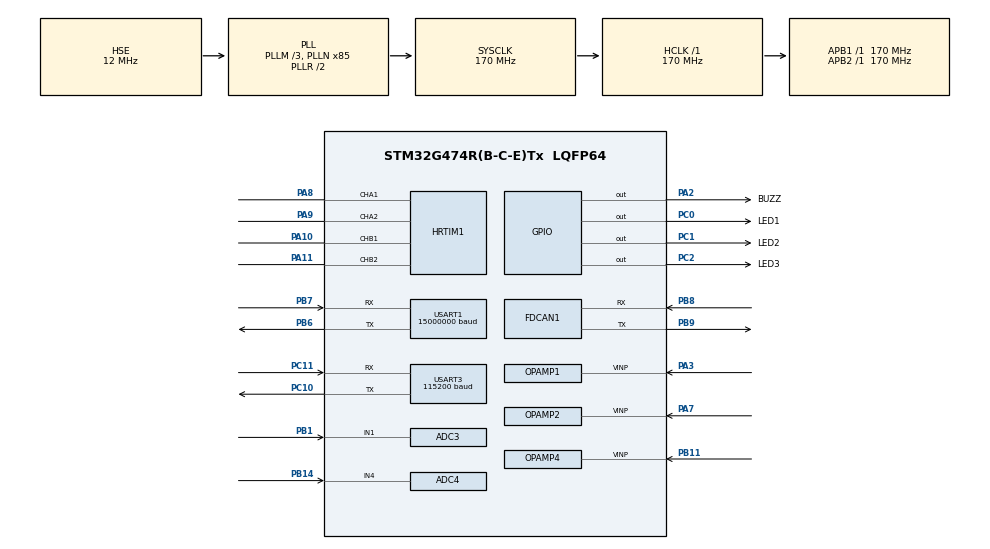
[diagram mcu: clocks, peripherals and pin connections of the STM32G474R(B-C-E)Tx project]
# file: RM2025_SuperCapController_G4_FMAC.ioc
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ADC1.Channel-5\#ChannelRegularConversion=ADC_CHANNEL_VOPAMP1
ADC1.ContinuousConvMode=DISABLE
ADC1.DMAContinuousRequests=ENABLE
ADC1.ExternalTrigConv=ADC_EXTERNALTRIG_HRTIM_TRG3
ADC1.LowPowerAutoWait=DISABLE
ADC1.NbrOfConversion=1
ADC1.NbrOfConversionFlag=1
ADC1.OversamplingMode=ENABLE
ADC1.OversamplingStopReset=ADC_REGOVERSAMPLING_CONTINUED_MODE
ADC1.Ratio=ADC_OVERSAMPLING_RATIO_16
ADC1.RightBitShift=ADC_RIGHTBITSHIFT_NONE
ADC1.master=1
ADC2.Channel-1\#ChannelRegularConversion=ADC_CHANNEL_VOPAMP2
ADC2.ContinuousConvMode=DISABLE
ADC2.DMAContinuousRequests=ENABLE
ADC2.ExternalTrigConv=ADC_EXTERNALTRIG_HRTIM_TRG3
ADC2.NbrOfConversionFlag=1
ADC2.OffsetNumber-1\#ChannelRegularConversion=ADC_OFFSET_NONE
ADC2.OversamplingMode=ENABLE
ADC2.Rank-1\#ChannelRegularConversion=1
ADC2.Ratio=ADC_OVERSAMPLING_RATIO_16
ADC2.RightBitShift=ADC_RIGHTBITSHIFT_NONE
ADC2.SamplingTime-1\#ChannelRegularConversion=ADC_SAMPLETIME_2CYCLES_5
ADC3.Channel-2\#ChannelRegularConversion=ADC_CHANNEL_1
ADC3.ContinuousConvMode=DISABLE
ADC3.DMAContinuousRequests=ENABLE
ADC3.ExternalTrigConv=ADC_EXTERNALTRIG_HRTIM_TRG2
ADC3.NbrOfConversion=1
ADC3.NbrOfConversionFlag=1
ADC3.OffsetNumber-2\#ChannelRegularConversion=ADC_OFFSET_NONE
ADC3.OversamplingMode=ENABLE
ADC3.Rank-2\#ChannelRegularConversion=1
ADC3.Ratio=ADC_OVERSAMPLING_RATIO_256
ADC3.RightBitShift=ADC_RIGHTBITSHIFT_4
ADC3.SamplingTime-2\#ChannelRegularConversion=ADC_SAMPLETIME_2CYCLES_5
ADC3.master=1
ADC4.Channel-10\#ChannelRegularConversion=ADC_CHANNEL_4
ADC4.Channel-11\#ChannelRegularConversion=ADC_CHANNEL_4
ADC4.ContinuousConvMode=DISABLE
ADC4.DMAContinuousRequests=ENABLE
ADC4.ExternalTrigConv=ADC_EXTERNALTRIG_HRTIM_TRG2
ADC4.NbrOfConversion=2
ADC4.NbrOfConversionFlag=1
ADC4.OffsetNumber-10\#ChannelRegularConversion=ADC_OFFSET_NONE
ADC4.OffsetNumber-11\#ChannelRegularConversion=ADC_OFFSET_NONE
ADC4.OversamplingMode=ENABLE
ADC4.Rank-10\#ChannelRegularConversion=1
ADC4.Rank-11\#ChannelRegularConversion=2
ADC4.Ratio=ADC_OVERSAMPLING_RATIO_256
ADC4.RightBitShift=ADC_RIGHTBITSHIFT_4
ADC4.SamplingTime-10\#ChannelRegularConversion=ADC_SAMPLETIME_2CYCLES_5
ADC4.SamplingTime-11\#ChannelRegularConversion=ADC_SAMPLETIME_2CYCLES_5
ADC5.Channel-0\#ChannelRegularConversion=ADC_CHANNEL_VOPAMP4
ADC5.ClockPrescaler=ADC_CLOCK_SYNC_PCLK_DIV4
ADC5.ContinuousConvMode=DISABLE
ADC5.DMAContinuousRequests=ENABLE
ADC5.ExternalTrigConv=ADC_EXTERNALTRIG_HRTIM_TRG1
ADC5.NbrOfConversion=1
ADC5.NbrOfConversionFlag=1
ADC5.OffsetNumber-0\#ChannelRegularConversion=ADC_OFFSET_NONE
ADC5.OversamplingMode=ENABLE
ADC5.Rank-0\#ChannelRegularConversion=1
ADC5.Ratio=ADC_OVERSAMPLING_RATIO_16
ADC5.Resolution=ADC_RESOLUTION_12B
ADC5.RightBitShift=ADC_RIGHTBITSHIFT_NONE
ADC5.SamplingTime-0\#ChannelRegularConversion=ADC_SAMPLETIME_2CYCLES_5
Dma.ADC1.0.Direction=DMA_PERIPH_TO_MEMORY
Dma.ADC1.0.EventEnable=DISABLE
Dma.ADC1.0.Instance=DMA1_Channel1
Dma.ADC1.0.MemDataAlignment=DMA_MDATAALIGN_HALFWORD
Dma.ADC1.0.MemInc=DMA_MINC_ENABLE
Dma.ADC1.0.Mode=DMA_CIRCULAR
Dma.ADC1.0.PeriphDataAlignment=DMA_PDATAALIGN_HALFWORD
Dma.ADC1.0.PeriphInc=DMA_PINC_DISABLE
Dma.ADC1.0.Polarity=HAL_DMAMUX_REQ_GEN_RISING
Dma.ADC1.0.Priority=DMA_PRIORITY_HIGH
Dma.ADC1.0.RequestNumber=1
Dma.ADC1.0.SignalID=NONE
Dma.ADC1.0.SyncEnable=DISABLE
Dma.ADC1.0.SyncPolarity=HAL_DMAMUX_SYNC_NO_EVENT
Dma.ADC1.0.SyncRequestNumber=1
Dma.ADC1.0.SyncSignalID=NONE
Dma.ADC2.3.Direction=DMA_PERIPH_TO_MEMORY
Dma.ADC2.3.EventEnable=DISABLE
Dma.ADC2.3.Instance=DMA1_Channel5
Dma.ADC2.3.MemDataAlignment=DMA_MDATAALIGN_HALFWORD
Dma.ADC2.3.MemInc=DMA_MINC_ENABLE
Dma.ADC2.3.Mode=DMA_CIRCULAR
Dma.ADC2.3.PeriphDataAlignment=DMA_PDATAALIGN_HALFWORD
Dma.ADC2.3.PeriphInc=DMA_PINC_DISABLE
Dma.ADC2.3.Polarity=HAL_DMAMUX_REQ_GEN_RISING
Dma.ADC2.3.Priority=DMA_PRIORITY_HIGH
Dma.ADC2.3.RequestNumber=1
Dma.ADC2.3.SignalID=NONE
Dma.ADC2.3.SyncEnable=DISABLE
Dma.ADC2.3.SyncPolarity=HAL_DMAMUX_SYNC_NO_EVENT
Dma.ADC2.3.SyncRequestNumber=1
Dma.ADC2.3.SyncSignalID=NONE
Dma.ADC3.6.Direction=DMA_PERIPH_TO_MEMORY
Dma.ADC3.6.EventEnable=DISABLE
Dma.ADC3.6.Instance=DMA1_Channel2
Dma.ADC3.6.MemDataAlignment=DMA_MDATAALIGN_HALFWORD
Dma.ADC3.6.MemInc=DMA_MINC_ENABLE
Dma.ADC3.6.Mode=DMA_CIRCULAR
Dma.ADC3.6.PeriphDataAlignment=DMA_PDATAALIGN_HALFWORD
Dma.ADC3.6.PeriphInc=DMA_PINC_DISABLE
Dma.ADC3.6.Polarity=HAL_DMAMUX_REQ_GEN_RISING
Dma.ADC3.6.Priority=DMA_PRIORITY_HIGH
Dma.ADC3.6.RequestNumber=1
Dma.ADC3.6.SignalID=NONE
Dma.ADC3.6.SyncEnable=DISABLE
Dma.ADC3.6.SyncPolarity=HAL_DMAMUX_SYNC_NO_EVENT
Dma.ADC3.6.SyncRequestNumber=1
Dma.ADC3.6.SyncSignalID=NONE
Dma.ADC4.5.Direction=DMA_PERIPH_TO_MEMORY
Dma.ADC4.5.EventEnable=DISABLE
Dma.ADC4.5.Instance=DMA1_Channel7
Dma.ADC4.5.MemDataAlignment=DMA_MDATAALIGN_HALFWORD
Dma.ADC4.5.MemInc=DMA_MINC_ENABLE
Dma.ADC4.5.Mode=DMA_CIRCULAR
Dma.ADC4.5.PeriphDataAlignment=DMA_PDATAALIGN_HALFWORD
Dma.ADC4.5.PeriphInc=DMA_PINC_DISABLE
Dma.ADC4.5.Polarity=HAL_DMAMUX_REQ_GEN_RISING
Dma.ADC4.5.Priority=DMA_PRIORITY_VERY_HIGH
Dma.ADC4.5.RequestNumber=1
Dma.ADC4.5.SignalID=NONE
Dma.ADC4.5.SyncEnable=DISABLE
Dma.ADC4.5.SyncPolarity=HAL_DMAMUX_SYNC_NO_EVENT
Dma.ADC4.5.SyncRequestNumber=1
Dma.ADC4.5.SyncSignalID=NONE
Dma.ADC5.4.Direction=DMA_PERIPH_TO_MEMORY
Dma.ADC5.4.EventEnable=DISABLE
Dma.ADC5.4.Instance=DMA1_Channel8
Dma.ADC5.4.MemDataAlignment=DMA_MDATAALIGN_HALFWORD
Dma.ADC5.4.MemInc=DMA_MINC_ENABLE
Dma.ADC5.4.Mode=DMA_CIRCULAR
Dma.ADC5.4.PeriphDataAlignment=DMA_PDATAALIGN_HALFWORD
Dma.ADC5.4.PeriphInc=DMA_PINC_DISABLE
Dma.ADC5.4.Polarity=HAL_DMAMUX_REQ_GEN_RISING
Dma.ADC5.4.Priority=DMA_PRIORITY_HIGH
Dma.ADC5.4.RequestNumber=1
Dma.ADC5.4.SignalID=NONE
Dma.ADC5.4.SyncEnable=DISABLE
Dma.ADC5.4.SyncPolarity=HAL_DMAMUX_SYNC_NO_EVENT
Dma.ADC5.4.SyncRequestNumber=1
Dma.ADC5.4.SyncSignalID=NONE
Dma.FMAC_READ.7.Direction=DMA_PERIPH_TO_MEMORY
Dma.FMAC_READ.7.EventEnable=DISABLE
Dma.FMAC_READ.7.Instance=DMA1_Channel3
Dma.FMAC_READ.7.MemDataAlignment=DMA_MDATAALIGN_HALFWORD
Dma.FMAC_READ.7.MemInc=DMA_MINC_ENABLE
Dma.FMAC_READ.7.Mode=DMA_CIRCULAR
Dma.FMAC_READ.7.PeriphDataAlignment=DMA_PDATAALIGN_WORD
Dma.FMAC_READ.7.PeriphInc=DMA_PINC_DISABLE
Dma.FMAC_READ.7.Polarity=HAL_DMAMUX_REQ_GEN_RISING
Dma.FMAC_READ.7.Priority=DMA_PRIORITY_MEDIUM
Dma.FMAC_READ.7.RequestNumber=1
Dma.FMAC_READ.7.SignalID=NONE
Dma.FMAC_READ.7.SyncEnable=DISABLE
Dma.FMAC_READ.7.SyncPolarity=HAL_DMAMUX_SYNC_NO_EVENT
Dma.FMAC_READ.7.SyncRequestNumber=1
Dma.FMAC_READ.7.SyncSignalID=NONE
Dma.Request0=ADC1
Dma.Request1=USART1_TX
Dma.Request2=USART3_TX
Dma.Request3=ADC2
Dma.Request4=ADC5
Dma.Request5=ADC4
Dma.Request6=ADC3
Dma.Request7=FMAC_READ
Dma.USART1_TX.1.Direction=DMA_MEMORY_TO_PERIPH
Dma.USART1_TX.1.EventEnable=DISABLE
Dma.USART1_TX.1.Instance=DMA2_Channel1
Dma.USART1_TX.1.MemDataAlignment=DMA_MDATAALIGN_BYTE
Dma.USART1_TX.1.MemInc=DMA_MINC_ENABLE
Dma.USART1_TX.1.Mode=DMA_NORMAL
Dma.USART1_TX.1.PeriphDataAlignment=DMA_PDATAALIGN_BYTE
Dma.USART1_TX.1.PeriphInc=DMA_PINC_DISABLE
Dma.USART1_TX.1.Polarity=HAL_DMAMUX_REQ_GEN_RISING
Dma.USART1_TX.1.Priority=DMA_PRIORITY_MEDIUM
Dma.USART1_TX.1.RequestNumber=1
Dma.USART1_TX.1.SignalID=NONE
Dma.USART1_TX.1.SyncEnable=DISABLE
Dma.USART1_TX.1.SyncPolarity=HAL_DMAMUX_SYNC_NO_EVENT
Dma.USART1_TX.1.SyncRequestNumber=1
Dma.USART1_TX.1.SyncSignalID=NONE
Dma.USART3_TX.2.Direction=DMA_MEMORY_TO_PERIPH
Dma.USART3_TX.2.EventEnable=DISABLE
Dma.USART3_TX.2.Instance=DMA2_Channel2
Dma.USART3_TX.2.MemDataAlignment=DMA_MDATAALIGN_BYTE
Dma.USART3_TX.2.MemInc=DMA_MINC_ENABLE
Dma.USART3_TX.2.Mode=DMA_NORMAL
Dma.USART3_TX.2.PeriphDataAlignment=DMA_PDATAALIGN_BYTE
Dma.USART3_TX.2.PeriphInc=DMA_PINC_DISABLE
Dma.USART3_TX.2.Polarity=HAL_DMAMUX_REQ_GEN_RISING
Dma.USART3_TX.2.Priority=DMA_PRIORITY_LOW
Dma.USART3_TX.2.RequestNumber=1
Dma.USART3_TX.2.SignalID=NONE
Dma.USART3_TX.2.SyncEnable=DISABLE
Dma.USART3_TX.2.SyncPolarity=HAL_DMAMUX_SYNC_NO_EVENT
Dma.USART3_TX.2.SyncRequestNumber=1
Dma.USART3_TX.2.SyncSignalID=NONE
FDCAN1.AutoRetransmission=DISABLE
FDCAN1.CalculateBaudRateNominal=999999
FDCAN1.CalculateTimeBitNominal=1000
FDCAN1.CalculateTimeQuantumNominal=11.764705882352942
FDCAN1.DataPrescaler=8
FDCAN1.DataSyncJumpWidth=4
FDCAN1.DataTimeSeg1=25
FDCAN1.DataTimeSeg2=8
FDCAN1.ExtFiltersNbr=0
FDCAN1.Mode=FDCAN_MODE_NORMAL
FDCAN1.NominalPrescaler=2
FDCAN1.NominalSyncJumpWidth=10
FDCAN1.NominalTimeSeg1=63
FDCAN1.NominalTimeSeg2=21
FDCAN1.StdFiltersNbr=1
HRTIM1.ADCTrigger1_Source1=HRTIM_ADCTRIGGEREVENT13_MASTER_CMP4
HRTIM1.ADCTrigger2_Source1=HRTIM_ADCTRIGGEREVENT24_MASTER_CMP4
HRTIM1.ADCTrigger3_Source1=HRTIM_ADCTRIGGEREVENT13_MASTER_CMP4
HRTIM1.ADCTrigger_Id1=HRTIM_ADCTRIGGER_1
HRTIM1.ADCTrigger_Id2=HRTIM_ADCTRIGGER_2
HRTIM1.ADCTrigger_Id3=HRTIM_ADCTRIGGER_3
HRTIM1.CaptureUnit1-Output_TA1TA2=__NULL
HRTIM1.CaptureUnit2-Output_TA1TA2=__NULL
HRTIM1.CompareUnit1-MasterTimer=HRTIM_COMPAREUNIT_1
HRTIM1.CompareUnit1-Output_TA1TA2=__NULL
HRTIM1.CompareUnit1-Output_TB1TB2=__NULL
HRTIM1.CompareUnit2-MasterTimer=HRTIM_COMPAREUNIT_2
HRTIM1.CompareUnit2-Output_TA1TA2=__NULL
HRTIM1.CompareUnit2-Output_TB1TB2=__NULL
HRTIM1.CompareUnit3-MasterTimer=HRTIM_COMPAREUNIT_3
HRTIM1.CompareUnit3-Output_TA1TA2=__NULL
HRTIM1.CompareUnit3-Output_TB1TB2=__NULL
HRTIM1.CompareUnit4-MasterTimer=HRTIM_COMPAREUNIT_4
HRTIM1.CompareUnit4-Output_TA1TA2=__NULL
HRTIM1.CompareValue1-MasterTimer=13600
HRTIM1.CompareValue2-MasterTimer=27200
HRTIM1.CompareValue3-MasterTimer=40800
HRTIM1.CompareValue4-MasterTimer=47600
HRTIM1.Configuration_TA=Waveform
HRTIM1.DeadTimeInsertion-Output_TA1TA2=HRTIM_TIMDEADTIMEINSERTION_ENABLED
HRTIM1.DeadTimeInsertion-Output_TB1TB2=HRTIM_TIMDEADTIMEINSERTION_ENABLED
HRTIM1.Deadtimeconfig-Output_TA1TA2=HRTIM_TIMERINDEX_TIMER_A
HRTIM1.Deadtimeconfig-Output_TB1TB2=HRTIM_TIMERINDEX_TIMER_B
HRTIM1.Event_EEV1=__NULL
HRTIM1.Event_EEV10=__NULL
HRTIM1.Event_EEV2=__NULL
HRTIM1.Event_EEV3=__NULL
HRTIM1.Event_EEV4=__NULL
HRTIM1.Event_EEV5=__NULL
HRTIM1.Event_EEV6=__NULL
HRTIM1.Event_EEV7=__NULL
HRTIM1.Event_EEV8=__NULL
HRTIM1.Event_EEV9=__NULL
HRTIM1.FallingValue-Output_TA1TA2=30
HRTIM1.FallingValue-Output_TB1TB2=30
HRTIM1.FaultLevel1-Output_TA1TA2=HRTIM_OUTPUTFAULTLEVEL_NONE
HRTIM1.FaultLevel1-Output_TB1TB2=HRTIM_OUTPUTFAULTLEVEL_NONE
HRTIM1.FaultLevel2-Output_TA1TA2=HRTIM_OUTPUTFAULTLEVEL_NONE
HRTIM1.FaultLevel2-Output_TB1TB2=HRTIM_OUTPUTFAULTLEVEL_NONE
HRTIM1.Fault_Line1=__NULL
HRTIM1.InterleavedMode-Output_TA1TA2=HRTIM_INTERLEAVED_MODE_DISABLED
HRTIM1.ModeTimeBase-MasterTimer=HRTIM_MODE_CONTINUOUS
HRTIM1.ModeTimeBase-Output_TA1TA2=HRTIM_MODE_CONTINUOUS
HRTIM1.NumberADCTriggerSource1=1
HRTIM1.NumberADCTriggerSource2=1
HRTIM1.NumberADCTriggerSource3=1
HRTIM1.NumberInterruptRequests_Master-MasterTimer=0
HRTIM1.NumberResetSource1-Output_TA1TA2=1
HRTIM1.NumberResetSource1-Output_TB1TB2=1
HRTIM1.NumberResetSource2_TB=0
HRTIM1.NumberResetTrigger-Output_TA1TA2=0
HRTIM1.NumberSetSource1-Output_TA1TA2=1
HRTIM1.NumberSetSource1-Output_TB1TB2=1
HRTIM1.NumberSetSource2_TA=0
HRTIM1.NumberSetSource2_TB=0
HRTIM1.NumberUpdateTrigger-Output_TA1TA2=1
HRTIM1.NumberUpdateTrigger-Output_TB1TB2=1
HRTIM1.Periode_MASTER=54400
HRTIM1.Periode_TA=0xd480
HRTIM1.Periode_TB=0xd480
HRTIM1.PreloadEnable-MasterTimer=HRTIM_PRELOAD_ENABLED
HRTIM1.PreloadEnable-Output_TA1TA2=HRTIM_PRELOAD_ENABLED
HRTIM1.PreloadEnable-Output_TB1TB2=HRTIM_PRELOAD_ENABLED
HRTIM1.PrescalerDead-Output_TA1TA2=HRTIM_TIMDEADTIME_PRESCALERRATIO_MUL8
HRTIM1.PrescalerDead-Output_TB1TB2=HRTIM_TIMDEADTIME_PRESCALERRATIO_MUL8
HRTIM1.PrescalerRatio_MASTER=HRTIM_PRESCALERRATIO_MUL32
HRTIM1.PrescalerRatio_TA=HRTIM_PRESCALERRATIO_MUL32
HRTIM1.PushPull-Output_TA1TA2=HRTIM_TIMPUSHPULLMODE_DISABLED
HRTIM1.PushPull-Output_TB1TB2=HRTIM_TIMPUSHPULLMODE_DISABLED
HRTIM1.RepetitionCounter-Output_TA1TA2=0x00
HRTIM1.RepetitionUpdate-MasterTimer=HRTIM_UPDATEONREPETITION_ENABLED
HRTIM1.RepetitionUpdate-Output_TA1TA2=HRTIM_UPDATEONREPETITION_ENABLED
HRTIM1.RepetitionUpdate-Output_TB1TB2=HRTIM_UPDATEONREPETITION_ENABLED
HRTIM1.ResetOnSync-MasterTimer=HRTIM_SYNCRESET_DISABLED
HRTIM1.ResetOnSync-Output_TA1TA2=HRTIM_SYNCRESET_DISABLED
HRTIM1.ResetOnSync-Output_TB1TB2=HRTIM_SYNCRESET_DISABLED
HRTIM1.ResetOutput1_Source1-Output_TA1TA2=HRTIM_OUTPUTRESET_MASTERPER
HRTIM1.ResetOutput1_Source1-Output_TB1TB2=HRTIM_OUTPUTRESET_MASTERCMP3
HRTIM1.RisingValue-Output_TA1TA2=30
HRTIM1.RisingValue-Output_TB1TB2=30
HRTIM1.SetOutput1_Source1-Output_TA1TA2=HRTIM_OUTPUTSET_MASTERCMP1
HRTIM1.SetOutput1_Source1-Output_TB1TB2=HRTIM_OUTPUTSET_MASTERCMP2
HRTIM1.StartOnSync-MasterTimer=HRTIM_SYNCSTART_DISABLED
HRTIM1.StartOnSync-Output_TA1TA2=HRTIM_SYNCSTART_DISABLED
HRTIM1.StartOnSync-Output_TB1TB2=HRTIM_SYNCSTART_DISABLED
HRTIM1.SwapA=__NULL
HRTIM1.SwapB=__NULL
HRTIM1.SyncOptions=HRTIM_SYNCOPTION_NONE
HRTIM1.UpdateTrigger1-Output_TA1TA2=HRTIM_TIMUPDATETRIGGER_MASTER
HRTIM1.UpdateTrigger1-Output_TB1TB2=HRTIM_TIMUPDATETRIGGER_MASTER
HRTIM1.postscaler1=0x0
HRTIM1.postscaler2=0x7
HRTIM1.postscaler3=0x1
IWDG.Prescaler=IWDG_PRESCALER_16
IWDG.Reload=4095
Mcu.Family=STM32G4
Mcu.Name=STM32G474R(B-C-E)Tx
Mcu.Package=LQFP64
NVIC.DMA1_Channel1_IRQn=true\:0\:0\:false\:false\:true\:false\:true\:true
NVIC.DMA1_Channel2_IRQn=true\:0\:0\:false\:false\:true\:false\:true\:true
NVIC.DMA1_Channel3_IRQn=true\:0\:0\:false\:false\:true\:false\:true\:true
NVIC.DMA1_Channel5_IRQn=true\:0\:0\:false\:false\:true\:false\:true\:true
NVIC.DMA1_Channel7_IRQn=true\:0\:0\:false\:false\:true\:false\:true\:true
NVIC.DMA1_Channel8_IRQn=true\:0\:0\:false\:false\:true\:false\:true\:true
NVIC.DMA2_Channel1_IRQn=true\:0\:0\:false\:false\:true\:false\:true\:true
NVIC.DMA2_Channel2_IRQn=true\:0\:0\:false\:false\:true\:false\:true\:true
NVIC.FDCAN1_IT0_IRQn=true\:0\:0\:false\:false\:true\:true\:true\:true
NVIC.PriorityGroup=NVIC_PRIORITYGROUP_4
NVIC.TIM1_UP_TIM16_IRQn=true\:2\:0\:true\:false\:true\:true\:true\:true
NVIC.USART1_IRQn=true\:3\:0\:true\:false\:true\:true\:true\:true
NVIC.USART3_IRQn=true\:1\:0\:true\:false\:true\:true\:true\:true
OPAMP1.PowerMode=OPAMP_POWERMODE_HIGHSPEED
OPAMP1.SelfCalibration=Enable
OPAMP1.UserTrimming=OPAMP_TRIMMING_USER
OPAMP2.PowerMode=OPAMP_POWERMODE_HIGHSPEED
OPAMP2.SelfCalibration=Enable
OPAMP2.UserTrimming=OPAMP_TRIMMING_USER
OPAMP4.PowerMode=OPAMP_POWERMODE_HIGHSPEED
OPAMP4.SelfCalibration=Enable
OPAMP4.UserTrimming=OPAMP_TRIMMING_USER
PA10.GPIO_PuPd=GPIO_PULLDOWN
PA10.Mode=Output_TB1TB2
PA10.Signal=HRTIM1_CHB1
PA11.GPIO_PuPd=GPIO_PULLDOWN
PA11.Mode=Output_TB1TB2
PA11.Signal=HRTIM1_CHB2
PA13.Mode=Serial_Wire
PA13.Signal=SYS_JTMS-SWDIO
PA14.Mode=Serial_Wire
PA14.Signal=SYS_JTCK-SWCLK
PA2.GPIO_Label=BUZZ
PA2.Signal=GPIO_Output
PA3.Mode=Follower_Internally_Connected
PA3.Signal=OPAMP1_VINP
PA7.Mode=Follower_Internally_Connected
PA7.Signal=OPAMP2_VINP
PA8.GPIO_PuPd=GPIO_PULLDOWN
PA8.Mode=Output_TA1TA2
PA8.Signal=HRTIM1_CHA1
PA9.GPIO_PuPd=GPIO_PULLDOWN
PA9.Mode=Output_TA1TA2
PA9.Signal=HRTIM1_CHA2
PB1.Mode=IN1-Single-Ended
PB1.Signal=ADC3_IN1
PB11.Mode=Follower_Internally_Connected
PB11.Signal=OPAMP4_VINP
PB14.Mode=IN4-Single-Ended
PB14.Signal=ADC4_IN4
PB6.GPIO_FM6=SYSCFG_FASTMODEPLUS_PB6
PB6.GPIO_Speed=GPIO_SPEED_FREQ_VERY_HIGH
PB6.Mode=Asynchronous
PB6.Signal=USART1_TX
PB7.GPIO_FM7=SYSCFG_FASTMODEPLUS_PB7
PB7.GPIO_Speed=GPIO_SPEED_FREQ_VERY_HIGH
PB7.Mode=Asynchronous
PB7.Signal=USART1_RX
PB8-BOOT0.GPIO_FM8=SYSCFG_FASTMODEPLUS_PB8
PB8-BOOT0.GPIO_Mode=GPIO_MODE_AF_PP
PB8-BOOT0.GPIO_PuPd=GPIO_NOPULL
PB8-BOOT0.GPIO_Speed=GPIO_SPEED_FREQ_VERY_HIGH
PB8-BOOT0.Mode=FDCAN_Activate
PB8-BOOT0.Signal=FDCAN1_RX
PB9.GPIO_FM8=__NULL
PB9.GPIO_FM9=SYSCFG_FASTMODEPLUS_PB9
PB9.GPIO_Speed=GPIO_SPEED_FREQ_VERY_HIGH
PB9.Mode=FDCAN_Activate
PB9.Signal=FDCAN1_TX
PC0.GPIO_Label=LED1
PC0.Signal=GPIO_Output
PC1.GPIO_Label=LED2
PC1.Signal=GPIO_Output
PC10.GPIO_Speed=GPIO_SPEED_FREQ_VERY_HIGH
PC10.Mode=Asynchronous
PC10.Signal=USART3_TX
PC11.GPIO_Speed=GPIO_SPEED_FREQ_VERY_HIGH
PC11.Mode=Asynchronous
PC11.Signal=USART3_RX
PC2.GPIO_Label=LED3
PC2.Signal=GPIO_Output
PF0-OSC_IN.Mode=HSE-External-Oscillator
PF0-OSC_IN.Signal=RCC_OSC_IN
PF1-OSC_OUT.Mode=HSE-External-Oscillator
PF1-OSC_OUT.Signal=RCC_OSC_OUT
ProjectManager.HeapSize=0x200
ProjectManager.StackSize=0x400
ProjectManager.TargetToolchain=MDK-ARM V5.32
RCC.ADC12Freq_Value=170000000
RCC.ADC345Freq_Value=170000000
RCC.AHBFreq_Value=170000000
RCC.APB1Freq_Value=170000000
RCC.APB1TimFreq_Value=170000000
RCC.APB2Freq_Value=170000000
RCC.APB2TimFreq_Value=170000000
RCC.CortexFreq_Value=170000000
RCC.EXTERNAL_CLOCK_VALUE=12288000
RCC.HCLKFreq_Value=170000000
RCC.HSE_VALUE=12000000
RCC.HSI48_VALUE=48000000
RCC.HSI_VALUE=16000000
RCC.LSE_VALUE=32768
RCC.PLLM=RCC_PLLM_DIV3
RCC.PLLN=85
RCC.PLLSourceVirtual=RCC_PLLSOURCE_HSE
RCC.SYSCLKFreq_VALUE=170000000
RCC.SYSCLKSource=RCC_SYSCLKSOURCE_PLLCLK
RCC.USBFreq_Value=170000000
RCC.VCOOutputFreq_Value=340000000
STMicroelectronics.X-CUBE-ALGOBUILD.1.4.0.LibraryCcDSPOoLibraryJjDSPOoLibrary=true
TIM1.PeriodNoDither=19
TIM1.Prescaler=170-1
USART1.AutoBaudRateEnableParam=UART_ADVFEATURE_AUTOBAUDRATE_DISABLE
USART1.BaudRate=15000000
USART1.FIFOMode=FIFOMODE_ENABLE
USART1.OverSampling=UART_OVERSAMPLING_8
USART1.Parity=PARITY_NONE
USART1.RXFIFOThreshold=RXFIFO_THRESHOLD_HALFFULL
USART1.StopBits=STOPBITS_1
USART1.TXFIFOThreshold=TXFIFO_THRESHOLD_HALFFULL
USART1.VirtualMode-Asynchronous=VM_ASYNC
USART1.WordLength=WORDLENGTH_8B
USART3.BaudRate=115200
USART3.DMADisableonRxErrorParam=ADVFEATURE_DMA_DISABLEONRXERROR
USART3.SwapParam=ADVFEATURE_SWAP_DISABLE
USART3.VirtualMode-Asynchronous=VM_ASYNC
VP_ADC1_OPAMP_INTERNAL1.Mode=IN-OPAMP1
VP_ADC2_OPAMP_INTERNAL2.Mode=IN-OPAMP2
VP_ADC5_OPAMP_INTERNAL4.Mode=IN-OPAMP4
VP_FMAC_VS_FMAC.Mode=FMAC_Activate
VP_HRTIM1_VS_hrtimMasterTimerNoOutput.Mode=MasterTimer
VP_IWDG_VS_IWDG.Mode=IWDG_Activate
VP_STMicroelectronics.X-CUBE-ALGOBUILD_VS_DSPOoLibraryJjLibrary_1.4.0_1.4.0.Mode=DSPOoLibraryJjLibrary
VP_SYS_VS_DBSignals.Mode=DisableDeadBatterySignals
VP_SYS_V_VREFBUF.Mode=ExternalMode
VP_TIM1_VS_ClockSourceINT.Mode=Internal
board=custom

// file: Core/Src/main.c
/* USER CODE BEGIN Header */
/**
 ******************************************************************************
 * @file           : main.c
 * @brief          : Main program body
 ******************************************************************************
 * @attention
 *
 * Copyright (c) 2024 STMicroelectronics.
 * All rights reserved.
 *
 * This software is licensed under terms that can be found in the LICENSE file
 * in the root directory of this software component.
 * If no LICENSE file comes with this software, it is provided AS-IS.
 *
 ******************************************************************************
 */
/* USER CODE END Header */
#include "main.h"
#include "adc.h"
#include "dma.h"
#include "fdcan.h"
#include "fmac.h"
#include "hrtim.h"
#include "iwdg.h"
#include "opamp.h"
#include "tim.h"
#include "usart.h"
#include "gpio.h"

/* USER CODE BEGIN Includes */
#include "Control_buck_boost.h"
#include "CanBusTask.h"
#include "Vofa_send.h"
#include "scheduler.h"
#include "uart_data_handle.h"

#include "Anotc.h"
/* USER CODE END Includes */

void SystemClock_Config(void);

int main(void)
{

  /* MCU Configuration--------------------------------------------------------*/

  /* Reset of all peripherals, Initializes the Flash interface and the Systick. */
  HAL_Init();

  /* Configure the system clock */
  SystemClock_Config();

  /* Initialize all configured peripherals */
  MX_GPIO_Init();
  MX_DMA_Init();
  MX_HRTIM1_Init();
  MX_ADC1_Init();
  MX_ADC2_Init();
  MX_ADC3_Init();
  MX_ADC4_Init();
  MX_ADC5_Init();
  MX_OPAMP1_Init();
  MX_OPAMP4_Init();
  MX_USART1_UART_Init();
  MX_USART3_UART_Init();
  MX_OPAMP2_Init();
  MX_TIM1_Init();
  MX_FDCAN1_Init();
  MX_IWDG_Init();
  MX_FMAC_Init();
  /* USER CODE BEGIN 2 */

  PID_struct_init(&pid_battery_power, DELTA_PID, 15, -15, 15, -15, 0.05f, 0.00055f, 0.0f); // 误差补偿功率环
  PID_struct_init(&pid_power_buffer, DELTA_PID, 10, -2, 10, -2, 1.0f, 0.1f, 0.0f);

  HAL_Delay(10);
  HAL_Delay(50);
  HAL_ADCEx_Calibration_Start(&hadc1, ADC_SINGLE_ENDED);
  HAL_Delay(10);
  HAL_ADC_Start_DMA(&hadc1, (uint32_t *)&ADC_RawData.adc_Chassis_I, 1);
  HAL_Delay(10);
  HAL_ADCEx_Calibration_Start(&hadc2, ADC_SINGLE_ENDED);
  HAL_Delay(10);
  HAL_ADC_Start_DMA(&hadc2, (uint32_t *)&ADC_RawData.adc_Battery_I, 1);
  HAL_ADCEx_Calibration_Start(&hadc3, ADC_SINGLE_ENDED);
  HAL_Delay(10);
  HAL_ADC_Start_DMA(&hadc3, (uint32_t *)&ADC_RawData.adc_Pin24V_Battery_V, 1);
  HAL_ADCEx_Calibration_Start(&hadc4, ADC_SINGLE_ENDED);
  HAL_Delay(10);
  HAL_ADC_Start_DMA(&hadc4, (uint32_t *)&ADC_RawData.adc_Cap_V, 1);
  HAL_Delay(10);
  HAL_ADCEx_Calibration_Start(&hadc5, ADC_SINGLE_ENDED);
  HAL_Delay(10);

  HAL_ADC_Start_DMA(&hadc5, (uint32_t *)&ADC_RawData.adc_Cap_I, 1);

  HAL_OPAMP_Start(&hopamp1);
  HAL_OPAMP_Start(&hopamp2);
  HAL_OPAMP_Start(&hopamp4);

  HAL_HRTIM_WaveformCountStart(&hhrtim1, HRTIM_TIMERID_TIMER_B | HRTIM_TIMERID_TIMER_A | HRTIM_TIMERID_MASTER );
  HAL_UART_Receive_IT(&huart3, &aRxBuffer, 1);

  CANFilterInit();

  Auotc_Init();

  HAL_GPIO_WritePin(LED3_GPIO_Port, LED3_Pin, 1);

  HAL_GPIO_WritePin(LED2_GPIO_Port, LED2_Pin, 1);

  HAL_TIM_Base_Start_IT(&htim1);

  HAL_UART_Receive_IT(&huart3, &aRxBuffer, 1);
  HAL_Delay(10);

  Scheduler_init();

  // 取消下方两行注释，取消上电自启动
  // Scheduler_stop(Start_task);
  // Scheduler_stop(average1S);

  Scheduler_stop(UVLO);

  hiwdg.Init.Reload = 200;
 HAL_IWDG_Init(&hiwdg);

  /* USER CODE END 2 */

  /* Infinite loop */
  /* USER CODE BEGIN WHILE */
  while (1)
  {

    Scheduler_run();
    /* USER CODE END WHILE */

  }
}

void SystemClock_Config(void)
{
  RCC_OscInitTypeDef RCC_OscInitStruct = {0};
  RCC_ClkInitTypeDef RCC_ClkInitStruct = {0};

  /** Configure the main internal regulator output voltage
  */
  HAL_PWREx_ControlVoltageScaling(PWR_REGULATOR_VOLTAGE_SCALE1_BOOST);

  /** Initializes the RCC Oscillators according to the specified parameters
  * in the RCC_OscInitTypeDef structure.
  */
  RCC_OscInitStruct.OscillatorType = RCC_OSCILLATORTYPE_LSI|RCC_OSCILLATORTYPE_HSE;
  RCC_OscInitStruct.HSEState = RCC_HSE_ON;
  RCC_OscInitStruct.LSIState = RCC_LSI_ON;
  RCC_OscInitStruct.PLL.PLLState = RCC_PLL_ON;
  RCC_OscInitStruct.PLL.PLLSource = RCC_PLLSOURCE_HSE;
  RCC_OscInitStruct.PLL.PLLM = RCC_PLLM_DIV3;
  RCC_OscInitStruct.PLL.PLLN = 85;
  RCC_OscInitStruct.PLL.PLLP = RCC_PLLP_DIV2;
  RCC_OscInitStruct.PLL.PLLQ = RCC_PLLQ_DIV2;
  RCC_OscInitStruct.PLL.PLLR = RCC_PLLR_DIV2;
  if (HAL_RCC_OscConfig(&RCC_OscInitStruct) != HAL_OK)
  {
    Error_Handler();
  }

  /** Initializes the CPU, AHB and APB buses clocks
  */
  RCC_ClkInitStruct.ClockType = RCC_CLOCKTYPE_HCLK|RCC_CLOCKTYPE_SYSCLK
                              |RCC_CLOCKTYPE_PCLK1|RCC_CLOCKTYPE_PCLK2;
  RCC_ClkInitStruct.SYSCLKSource = RCC_SYSCLKSOURCE_PLLCLK;
  RCC_ClkInitStruct.AHBCLKDivider = RCC_SYSCLK_DIV1;
  RCC_ClkInitStruct.APB1CLKDivider = RCC_HCLK_DIV1;
  RCC_ClkInitStruct.APB2CLKDivider = RCC_HCLK_DIV1;

  if (HAL_RCC_ClockConfig(&RCC_ClkInitStruct, FLASH_LATENCY_4) != HAL_OK)
  {
    Error_Handler();
  }
}

void Error_Handler(void)
{
  /* USER CODE BEGIN Error_Handler_Debug */
  /* User can add his own implementation to report the HAL error return state */
  __disable_irq();
  while (1)
  {
    HAL_Delay(100);
    HAL_GPIO_TogglePin(GPIOC,GPIO_PIN_0|GPIO_PIN_1|GPIO_PIN_2);
  }
  /* USER CODE END Error_Handler_Debug */
}
